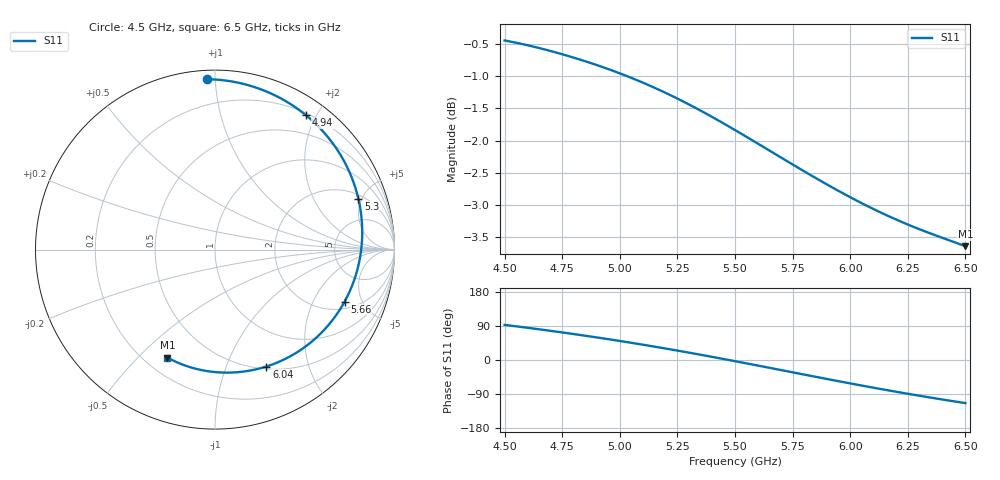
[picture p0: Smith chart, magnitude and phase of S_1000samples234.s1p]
! TOUCHSTONE file generated by CST MICROWAVE STUDIO
! Date and time: Thu Oct 27 11:25:00 2022
! Project name: L.cst
! Parameters = {Di=1.27; Epsilon_r=1.56; InnerDiameter=1.27; Length=2; Lf=10; Lg=60; OuterConductorThickness=0.2921; OuterDiameter=3.6; Wf=3; Wp=41.2; de=1.5; df=6.8; g=0.8; gx=3.74071; gy=3.56814; h=2.34; hf=1.524; px=12.0815; py=9.14535; w=9.7; wx=8.34077; wy=5.57721}
! Header version: 2018
! Port assignment regex: !\s*Touchstone port\s*([0-9]+)\s*=\s*(CST MWS port|CST DS port)\s*([0-9]+|Zmin|Zmax)\s*\(\"(.*)\"\)(\s*mode\s*([0-9]+))?.*
! Touchstone port assignment:
! Touchstone port 1 = CST MWS port 1 ("")
# GHz S DB R 50
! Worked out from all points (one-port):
!   101 points, 4.5 GHz to 6.5 GHz, reference 50 ohm
!   lowest |S11| = -3.6 dB at 6.5 GHz (marker M1), VSWR 4.84, Z = 14.5 - j30.7 ohm
!   |S11| at or under -10 dB: nowhere
!   S11 on the Smith chart (normalised r, x): 4.5 GHz: 0.05, +0.95; 4.94 GHz: 0.23, +1.86; 5.3 GHz: 2.35, +4.70; 5.66 GHz: 2.45, -3.60; 6.04 GHz: 0.53, -1.39; 6.5 GHz: 0.29, -0.61
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4.5  -0.44 92.7
4.58  -0.50 86.6
4.64  -0.55 81.8
4.76  -0.67 71.9
4.86  -0.78 63.2
4.94  -0.88 55.9
5  -0.95 50.2
5.06  -1.04 44.4
5.14  -1.16 36.4
5.2  -1.26 30.1
5.26  -1.37 23.8
5.3  -1.44 19.4
5.4  -1.63 8.3
5.46  -1.75 1.5
5.5  -1.84 -3.1
5.58  -2.01 -12.4
5.66  -2.18 -21.8
5.76  -2.39 -33.7
5.82  -2.52 -40.8
5.88  -2.64 -47.8
5.94  -2.77 -54.8
6  -2.88 -61.7
6.04  -2.96 -66.3
6.14  -3.13 -77.4
6.2  -3.23 -83.8
6.26  -3.32 -90.1
6.38  -3.49 -102.3
6.5  -3.64 -113.7
